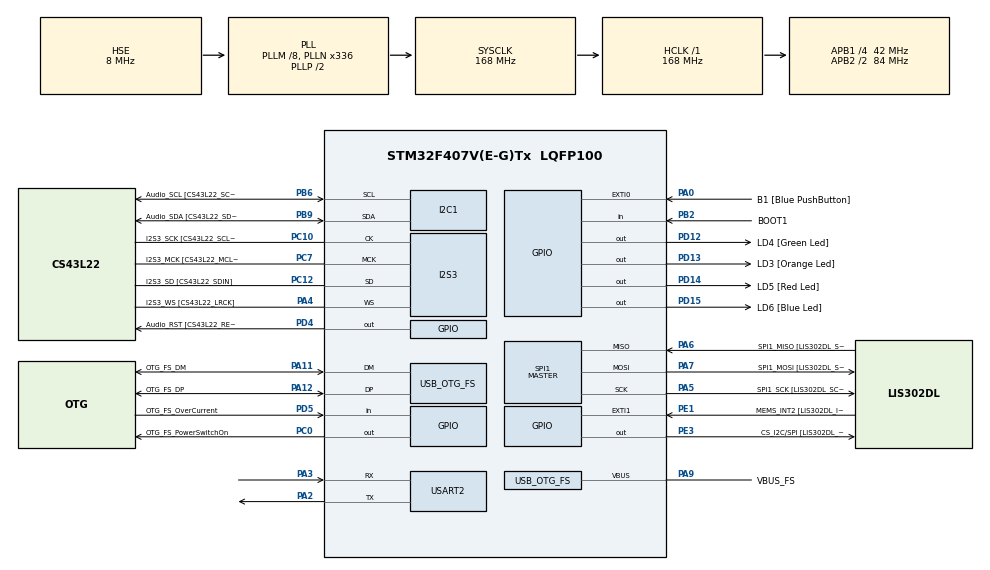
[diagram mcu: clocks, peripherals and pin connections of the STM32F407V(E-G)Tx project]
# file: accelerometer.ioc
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I2S3.AudioFreq-Half_Duplex_Master=I2S_AUDIOFREQ_96K
I2S3.ErrorAudioFreq=-2.34 %
I2S3.ErrorAudioFreq-Half_Duplex_Master=0.8 %
I2S3.FullDuplexMode=I2S_FULLDUPLEXMODE_DISABLE
I2S3.Instance=SPI$Index
I2S3.RealAudioFreq=93.75 KHz
I2S3.RealAudioFreq-Half_Duplex_Master=96.774 KHz
I2S3.VirtualMode=I2S_MODE_MASTER
Mcu.Family=STM32F4
Mcu.Name=STM32F407V(E-G)Tx
Mcu.Package=LQFP100
NVIC.OTG_FS_IRQn=true\:0\:0\:false\:false\:true\:true\:true
NVIC.PriorityGroup=NVIC_PRIORITYGROUP_0
PA0-WKUP.GPIO_Label=B1 [Blue PushButton]
PA0-WKUP.GPIO_ModeDefaultEXTI=GPIO_MODE_EVT_RISING
PA0-WKUP.GPIO_PuPd=GPIO_NOPULL
PA0-WKUP.Signal=GPXTI0
PA10.GPIO_Label=OTG_FS_ID
PA10.GPIO_Mode=GPIO_MODE_AF_PP
PA10.GPIO_PuPd=GPIO_NOPULL
PA10.GPIO_Speed=GPIO_SPEED_FREQ_LOW
PA10.Signal=USB_OTG_FS_ID
PA11.GPIO_Label=OTG_FS_DM
PA11.GPIO_Mode=GPIO_MODE_AF_PP
PA11.GPIO_PuPd=GPIO_NOPULL
PA11.GPIO_Speed=GPIO_SPEED_FREQ_LOW
PA11.Mode=Host_Only
PA11.Signal=USB_OTG_FS_DM
PA12.GPIO_Label=OTG_FS_DP
PA12.GPIO_Mode=GPIO_MODE_AF_PP
PA12.GPIO_PuPd=GPIO_NOPULL
PA12.GPIO_Speed=GPIO_SPEED_FREQ_LOW
PA12.Mode=Host_Only
PA12.Signal=USB_OTG_FS_DP
PA13.GPIO_Label=SWDIO
PA13.Mode=Serial_Wire
PA13.Signal=SYS_JTMS-SWDIO
PA14.GPIO_Label=SWCLK
PA14.Mode=Serial_Wire
PA14.Signal=SYS_JTCK-SWCLK
PA2.Mode=Asynchronous
PA2.Signal=USART2_TX
PA3.Mode=Asynchronous
PA3.Signal=USART2_RX
PA4.GPIO_Label=I2S3_WS [CS43L22_LRCK]
PA4.GPIO_Mode=GPIO_MODE_AF_PP
PA4.GPIO_PuPd=GPIO_NOPULL
PA4.GPIO_Speed=GPIO_SPEED_FREQ_LOW
PA4.Mode=Half_Duplex_Master
PA4.Signal=I2S3_WS
PA5.GPIO_Label=SPI1_SCK [LIS302DL_SCL/SPC]
PA5.GPIO_Mode=GPIO_MODE_AF_PP
PA5.GPIO_PuPd=GPIO_NOPULL
PA5.GPIO_Speed=GPIO_SPEED_FREQ_LOW
PA5.Mode=Full_Duplex_Master
PA5.Signal=SPI1_SCK
PA6.GPIO_Label=SPI1_MISO [LIS302DL_SDO]
PA6.GPIO_Mode=GPIO_MODE_AF_PP
PA6.GPIO_PuPd=GPIO_NOPULL
PA6.GPIO_Speed=GPIO_SPEED_FREQ_LOW
PA6.Mode=Full_Duplex_Master
PA6.Signal=SPI1_MISO
PA7.GPIO_Label=SPI1_MOSI [LIS302DL_SDA/SDI/SDO]
PA7.GPIO_Mode=GPIO_MODE_AF_PP
PA7.GPIO_PuPd=GPIO_NOPULL
PA7.GPIO_Speed=GPIO_SPEED_FREQ_LOW
PA7.Mode=Full_Duplex_Master
PA7.Signal=SPI1_MOSI
PA9.GPIO_Label=VBUS_FS
PA9.GPIO_Mode=GPIO_MODE_INPUT
PA9.GPIO_PuPd=GPIO_NOPULL
PA9.Mode=Activate_VBUS
PA9.Signal=USB_OTG_FS_VBUS
PB10.GPIO_Label=CLK_IN [MP45DT02_CLK]
PB10.GPIO_Mode=GPIO_MODE_AF_PP
PB10.GPIO_PuPd=GPIO_NOPULL
PB10.GPIO_Speed=GPIO_SPEED_FREQ_LOW
PB10.Signal=I2S2_CK
PB2.GPIO_Label=BOOT1
PB2.GPIO_Mode=GPIO_MODE_INPUT
PB2.GPIO_PuPd=GPIO_NOPULL
PB2.Signal=GPIO_Input
PB3.GPIO_Label=SWO
PB3.Signal=SYS_JTDO-SWO
PB6.GPIO_Label=Audio_SCL [CS43L22_SCL]
PB6.GPIO_Mode=GPIO_MODE_AF_OD
PB6.GPIO_PuPd=GPIO_NOPULL
PB6.GPIO_Speed=GPIO_SPEED_FREQ_LOW
PB6.Mode=I2C
PB6.Signal=I2C1_SCL
PB9.GPIO_Label=Audio_SDA [CS43L22_SDA]
PB9.GPIO_Mode=GPIO_MODE_AF_OD
PB9.GPIO_PuPd=GPIO_NOPULL
PB9.GPIO_Speed=GPIO_SPEED_FREQ_LOW
PB9.Mode=I2C
PB9.Signal=I2C1_SDA
PC0.GPIO_Label=OTG_FS_PowerSwitchOn
PC0.GPIO_PuPd=GPIO_NOPULL
PC0.GPIO_Speed=GPIO_SPEED_FREQ_LOW
PC0.PinState=GPIO_PIN_SET
PC0.Signal=GPIO_Output
PC10.GPIO_Label=I2S3_SCK [CS43L22_SCLK]
PC10.GPIO_Mode=GPIO_MODE_AF_PP
PC10.GPIO_PuPd=GPIO_NOPULL
PC10.GPIO_Speed=GPIO_SPEED_FREQ_LOW
PC10.Mode=Half_Duplex_Master
PC10.Signal=I2S3_CK
PC12.GPIO_Label=I2S3_SD [CS43L22_SDIN]
PC12.GPIO_Mode=GPIO_MODE_AF_PP
PC12.GPIO_PuPd=GPIO_NOPULL
PC12.GPIO_Speed=GPIO_SPEED_FREQ_LOW
PC12.Mode=Half_Duplex_Master
PC12.Signal=I2S3_SD
PC14-OSC32_IN.GPIO_Label=PC14-OSC32_IN
PC14-OSC32_IN.Mode=LSE-External-Oscillator
PC14-OSC32_IN.Signal=RCC_OSC32_IN
PC15-OSC32_OUT.GPIO_Label=PC15-OSC32_OUT
PC15-OSC32_OUT.Mode=LSE-External-Oscillator
PC15-OSC32_OUT.Signal=RCC_OSC32_OUT
PC3.GPIO_Label=PDM_OUT [MP45DT02_DOUT]
PC3.GPIO_Mode=GPIO_MODE_AF_PP
PC3.GPIO_PuPd=GPIO_NOPULL
PC3.GPIO_Speed=GPIO_SPEED_FREQ_LOW
PC3.Signal=I2S2_SD
PC7.GPIO_Label=I2S3_MCK [CS43L22_MCLK]
PC7.GPIO_Mode=GPIO_MODE_AF_PP
PC7.GPIO_PuPd=GPIO_NOPULL
PC7.GPIO_Speed=GPIO_SPEED_FREQ_LOW
PC7.Mode=Master_Clock_Activated
PC7.Signal=I2S3_MCK
PD12.GPIO_Label=LD4 [Green Led]
PD12.GPIO_PuPd=GPIO_NOPULL
PD12.GPIO_Speed=GPIO_SPEED_FREQ_LOW
PD12.Signal=GPIO_Output
PD13.GPIO_Label=LD3 [Orange Led]
PD13.GPIO_PuPd=GPIO_NOPULL
PD13.GPIO_Speed=GPIO_SPEED_FREQ_LOW
PD13.Signal=GPIO_Output
PD14.GPIO_Label=LD5 [Red Led]
PD14.GPIO_PuPd=GPIO_NOPULL
PD14.GPIO_Speed=GPIO_SPEED_FREQ_LOW
PD14.Signal=GPIO_Output
PD15.GPIO_Label=LD6 [Blue Led]
PD15.GPIO_PuPd=GPIO_NOPULL
PD15.GPIO_Speed=GPIO_SPEED_FREQ_LOW
PD15.Signal=GPIO_Output
PD4.GPIO_Label=Audio_RST [CS43L22_RESET]
PD4.GPIO_PuPd=GPIO_NOPULL
PD4.GPIO_Speed=GPIO_SPEED_FREQ_LOW
PD4.Signal=GPIO_Output
PD5.GPIO_Label=OTG_FS_OverCurrent
PD5.GPIO_Mode=GPIO_MODE_INPUT
PD5.GPIO_PuPd=GPIO_NOPULL
PD5.Signal=GPIO_Input
PE1.GPIO_Label=MEMS_INT2 [LIS302DL_INT2]
PE1.GPIO_ModeDefaultEXTI=GPIO_MODE_EVT_RISING
PE1.GPIO_PuPd=GPIO_NOPULL
PE1.Signal=GPXTI1
PE3.GPIO_Label=CS_I2C/SPI [LIS302DL_CS_I2C/SPI]
PE3.GPIO_PuPd=GPIO_NOPULL
PE3.GPIO_Speed=GPIO_SPEED_FREQ_LOW
PE3.Signal=GPIO_Output
PH0-OSC_IN.GPIO_Label=PH0-OSC_IN
PH0-OSC_IN.Mode=HSE-External-Oscillator
PH0-OSC_IN.Signal=RCC_OSC_IN
PH1-OSC_OUT.GPIO_Label=PH1-OSC_OUT
PH1-OSC_OUT.Mode=HSE-External-Oscillator
PH1-OSC_OUT.Signal=RCC_OSC_OUT
ProjectManager.HeapSize=0x200
ProjectManager.StackSize=0x400
ProjectManager.TargetToolchain=TrueSTUDIO
RCC.48MHZClocksFreq_Value=48000000
RCC.AHBFreq_Value=168000000
RCC.APB1CLKDivider=RCC_HCLK_DIV4
RCC.APB1Freq_Value=42000000
RCC.APB1TimFreq_Value=84000000
RCC.APB2CLKDivider=RCC_HCLK_DIV2
RCC.APB2Freq_Value=84000000
RCC.APB2TimFreq_Value=168000000
RCC.CortexFreq_Value=168000000
RCC.HCLKFreq_Value=168000000
RCC.HSE_VALUE=8000000
RCC.HSI_VALUE=16000000
RCC.PLLM=8
RCC.PLLN=336
RCC.PLLQ=7
RCC.SYSCLKFreq_VALUE=168000000
RCC.SYSCLKSource=RCC_SYSCLKSOURCE_PLLCLK
RCC.VCOOutputFreq_Value=336000000
SPI1.BaudRatePrescaler-Full_Duplex_Master=SPI_BAUDRATEPRESCALER_2
SPI1.CalculateBaudRate-Full_Duplex_Master=42.0 MBits/s
SPI1.Direction=SPI_DIRECTION_2LINES
SPI1.Mode=SPI_MODE_MASTER
SPI1.Mode-Full_Duplex_Master=SPI_MODE_MASTER
SPI1.VirtualType=VM_MASTER
USART2.VirtualMode=VM_ASYNC
USB_HOST.BSP.number=1
USB_HOST.USBH_HandleTypeDef-CDC_FS=hUsbHostFS
USB_HOST.VirtualModeFS=Cdc
USB_HOST0.BSP.STBoard=false
USB_HOST0.BSP.api=Unknown
USB_HOST0.BSP.i2caddr=0
USB_HOST0.BSP.i2creg=0
USB_HOST0.BSP.instance=PC0
USB_HOST0.BSP.ip=GPIO
USB_HOST0.BSP.mode=Output
USB_HOST0.BSP.name=Drive_VBUS_FS
USB_HOST0.BSP.solution=PC0
USB_OTG_FS.VirtualMode=Host_Only
USB_OTG_FS.phy_itface=HCD_PHY_EMBEDDED
VP_USB_HOST_VS_USB_HOST_CDC_FS.Mode=CDC_FS
board=STM32F407G-DISC1

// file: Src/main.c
/* USER CODE BEGIN Header */
/**
  ******************************************************************************
  * @file           : main.c
  * @brief          : Main program body
  ******************************************************************************
  * @attention
  *
  * <h2><center>&copy; Copyright (c) 2020 STMicroelectronics.
  * All rights reserved.</center></h2>
  *
  * This software component is licensed by ST under Ultimate Liberty license
  * SLA0044, the "License"; You may not use this file except in compliance with
  * the License. You may obtain a copy of the License at:
  *                             www.st.com/SLA0044
  *
  ******************************************************************************
  */
/* USER CODE END Header */

#include "main.h"
#include "usb_host.h"
#include "mems.h"

/* USER CODE BEGIN Includes */

/* Private function prototypes -----------------------------------------------*/
static void ACCELERO_ReadAcc(void);
void ACCELERO_MEMS_Handler(void);
/* USER CODE END Includes */

I2C_HandleTypeDef hi2c1;

I2S_HandleTypeDef hi2s3;

SPI_HandleTypeDef hspi1;

UART_HandleTypeDef huart2;

/* USER CODE BEGIN PV *
//* Init af threshold to detect acceleration on MEMS */
/* Typical value:
      - No  acceleration: X, Y inferior to 100 (positive or negative)
      - Max acceleration: X, Y around 2000 (positive or negative) */

int16_t ThresholdHigh = 200;
int16_t ThresholdLow = -200;

/* USER CODE END PV */

void SystemClock_Config(void);
static void MX_GPIO_Init(void);
static void MX_I2C1_Init(void);
static void MX_I2S3_Init(void);
static void MX_SPI1_Init(void);
static void MX_USART2_UART_Init(void);
void MX_USB_HOST_Process(void);

int main(void)
{

  /* MCU Configuration--------------------------------------------------------*/

  /* Reset of all peripherals, Initializes the Flash interface and the Systick. */
  HAL_Init();

  /* Configure the system clock */
  SystemClock_Config();

  /* Initialize all configured peripherals */
  MX_GPIO_Init();
  MX_I2C1_Init();
  MX_I2S3_Init();
  MX_SPI1_Init();
  MX_USB_HOST_Init();
  MX_USART2_UART_Init();

  /* Infinite loop */
  while (1)
  {
    MX_USB_HOST_Process();

    /* USER CODE BEGIN 3 */
    ACCELERO_MEMS_Handler();
    // HAL_GPIO_TogglePin(LD3_GPIO_Port, LD3_Pin);
    // HAL_UART_Transmit(&huart2, ">", 1, 1000);
  }
  /* USER CODE END 3 */
}

void SystemClock_Config(void)
{
  RCC_OscInitTypeDef RCC_OscInitStruct = {0};
  RCC_ClkInitTypeDef RCC_ClkInitStruct = {0};
  RCC_PeriphCLKInitTypeDef PeriphClkInitStruct = {0};

  /** Configure the main internal regulator output voltage
  */
  __HAL_RCC_PWR_CLK_ENABLE();
  __HAL_PWR_VOLTAGESCALING_CONFIG(PWR_REGULATOR_VOLTAGE_SCALE1);
  /** Initializes the CPU, AHB and APB busses clocks
  */
  RCC_OscInitStruct.OscillatorType = RCC_OSCILLATORTYPE_HSE;
  RCC_OscInitStruct.HSEState = RCC_HSE_ON;
  RCC_OscInitStruct.PLL.PLLState = RCC_PLL_ON;
  RCC_OscInitStruct.PLL.PLLSource = RCC_PLLSOURCE_HSE;
  RCC_OscInitStruct.PLL.PLLM = 8;
  RCC_OscInitStruct.PLL.PLLN = 336;
  RCC_OscInitStruct.PLL.PLLP = RCC_PLLP_DIV2;
  RCC_OscInitStruct.PLL.PLLQ = 7;
  if (HAL_RCC_OscConfig(&RCC_OscInitStruct) != HAL_OK)
  {
    Error_Handler();
  }
  /** Initializes the CPU, AHB and APB busses clocks
  */
  RCC_ClkInitStruct.ClockType = RCC_CLOCKTYPE_HCLK | RCC_CLOCKTYPE_SYSCLK | RCC_CLOCKTYPE_PCLK1 | RCC_CLOCKTYPE_PCLK2;
  RCC_ClkInitStruct.SYSCLKSource = RCC_SYSCLKSOURCE_PLLCLK;
  RCC_ClkInitStruct.AHBCLKDivider = RCC_SYSCLK_DIV1;
  RCC_ClkInitStruct.APB1CLKDivider = RCC_HCLK_DIV4;
  RCC_ClkInitStruct.APB2CLKDivider = RCC_HCLK_DIV2;

  if (HAL_RCC_ClockConfig(&RCC_ClkInitStruct, FLASH_LATENCY_5) != HAL_OK)
  {
    Error_Handler();
  }
  PeriphClkInitStruct.PeriphClockSelection = RCC_PERIPHCLK_I2S;
  PeriphClkInitStruct.PLLI2S.PLLI2SN = 192;
  PeriphClkInitStruct.PLLI2S.PLLI2SR = 2;
  if (HAL_RCCEx_PeriphCLKConfig(&PeriphClkInitStruct) != HAL_OK)
  {
    Error_Handler();
  }
}

static void MX_I2C1_Init(void)
{

  hi2c1.Instance = I2C1;
  hi2c1.Init.ClockSpeed = 100000;
  hi2c1.Init.DutyCycle = I2C_DUTYCYCLE_2;
  hi2c1.Init.OwnAddress1 = 0;
  hi2c1.Init.AddressingMode = I2C_ADDRESSINGMODE_7BIT;
  hi2c1.Init.DualAddressMode = I2C_DUALADDRESS_DISABLE;
  hi2c1.Init.OwnAddress2 = 0;
  hi2c1.Init.GeneralCallMode = I2C_GENERALCALL_DISABLE;
  hi2c1.Init.NoStretchMode = I2C_NOSTRETCH_DISABLE;
  if (HAL_I2C_Init(&hi2c1) != HAL_OK)
  {
    Error_Handler();
  }
}

static void MX_I2S3_Init(void)
{

  hi2s3.Instance = SPI3;
  hi2s3.Init.Mode = I2S_MODE_MASTER_TX;
  hi2s3.Init.Standard = I2S_STANDARD_PHILIPS;
  hi2s3.Init.DataFormat = I2S_DATAFORMAT_16B;
  hi2s3.Init.MCLKOutput = I2S_MCLKOUTPUT_ENABLE;
  hi2s3.Init.AudioFreq = I2S_AUDIOFREQ_96K;
  hi2s3.Init.CPOL = I2S_CPOL_LOW;
  hi2s3.Init.ClockSource = I2S_CLOCK_PLL;
  hi2s3.Init.FullDuplexMode = I2S_FULLDUPLEXMODE_DISABLE;
  if (HAL_I2S_Init(&hi2s3) != HAL_OK)
  {
    Error_Handler();
  }
}

static void MX_SPI1_Init(void)
{

  /* SPI1 parameter configuration*/
  hspi1.Instance = SPI1;
  hspi1.Init.Mode = SPI_MODE_MASTER;
  hspi1.Init.Direction = SPI_DIRECTION_2LINES;
  hspi1.Init.DataSize = SPI_DATASIZE_8BIT;
  hspi1.Init.CLKPolarity = SPI_POLARITY_LOW;
  hspi1.Init.CLKPhase = SPI_PHASE_1EDGE;
  hspi1.Init.NSS = SPI_NSS_SOFT;
  hspi1.Init.BaudRatePrescaler = SPI_BAUDRATEPRESCALER_2;
  hspi1.Init.FirstBit = SPI_FIRSTBIT_MSB;
  hspi1.Init.TIMode = SPI_TIMODE_DISABLE;
  hspi1.Init.CRCCalculation = SPI_CRCCALCULATION_DISABLE;
  hspi1.Init.CRCPolynomial = 10;
  if (HAL_SPI_Init(&hspi1) != HAL_OK)
  {
    Error_Handler();
  }
}

static void MX_USART2_UART_Init(void)
{

  huart2.Instance = USART2;
  huart2.Init.BaudRate = 115200;
  huart2.Init.WordLength = UART_WORDLENGTH_8B;
  huart2.Init.StopBits = UART_STOPBITS_1;
  huart2.Init.Parity = UART_PARITY_NONE;
  huart2.Init.Mode = UART_MODE_TX_RX;
  huart2.Init.HwFlowCtl = UART_HWCONTROL_NONE;
  huart2.Init.OverSampling = UART_OVERSAMPLING_16;
  if (HAL_UART_Init(&huart2) != HAL_OK)
  {
    Error_Handler();
  }
}

static void MX_GPIO_Init(void)
{
  GPIO_InitTypeDef GPIO_InitStruct = {0};

  /* GPIO Ports Clock Enable */
  __HAL_RCC_GPIOE_CLK_ENABLE();
  __HAL_RCC_GPIOC_CLK_ENABLE();
  __HAL_RCC_GPIOH_CLK_ENABLE();
  __HAL_RCC_GPIOA_CLK_ENABLE();
  __HAL_RCC_GPIOB_CLK_ENABLE();
  __HAL_RCC_GPIOD_CLK_ENABLE();

  /*Configure GPIO pin Output Level */
  HAL_GPIO_WritePin(CS_I2C_SPI_GPIO_Port, CS_I2C_SPI_Pin, GPIO_PIN_RESET);

  /*Configure GPIO pin Output Level */
  HAL_GPIO_WritePin(OTG_FS_PowerSwitchOn_GPIO_Port, OTG_FS_PowerSwitchOn_Pin, GPIO_PIN_SET);

  /*Configure GPIO pin Output Level */
  HAL_GPIO_WritePin(GPIOD, LD4_Pin | LD3_Pin | LD5_Pin | LD6_Pin | Audio_RST_Pin, GPIO_PIN_RESET);

  /*Configure GPIO pin : CS_I2C_SPI_Pin */
  GPIO_InitStruct.Pin = CS_I2C_SPI_Pin;
  GPIO_InitStruct.Mode = GPIO_MODE_OUTPUT_PP;
  GPIO_InitStruct.Pull = GPIO_NOPULL;
  GPIO_InitStruct.Speed = GPIO_SPEED_FREQ_LOW;
  HAL_GPIO_Init(CS_I2C_SPI_GPIO_Port, &GPIO_InitStruct);

  /*Configure GPIO pin : OTG_FS_PowerSwitchOn_Pin */
  GPIO_InitStruct.Pin = OTG_FS_PowerSwitchOn_Pin;
  GPIO_InitStruct.Mode = GPIO_MODE_OUTPUT_PP;
  GPIO_InitStruct.Pull = GPIO_NOPULL;
  GPIO_InitStruct.Speed = GPIO_SPEED_FREQ_LOW;
  HAL_GPIO_Init(OTG_FS_PowerSwitchOn_GPIO_Port, &GPIO_InitStruct);

  /*Configure GPIO pin : PDM_OUT_Pin */
  GPIO_InitStruct.Pin = PDM_OUT_Pin;
  GPIO_InitStruct.Mode = GPIO_MODE_AF_PP;
  GPIO_InitStruct.Pull = GPIO_NOPULL;
  GPIO_InitStruct.Speed = GPIO_SPEED_FREQ_LOW;
  GPIO_InitStruct.Alternate = GPIO_AF5_SPI2;
  HAL_GPIO_Init(PDM_OUT_GPIO_Port, &GPIO_InitStruct);

  /*Configure GPIO pin : B1_Pin */
  GPIO_InitStruct.Pin = B1_Pin;
  GPIO_InitStruct.Mode = GPIO_MODE_EVT_RISING;
  GPIO_InitStruct.Pull = GPIO_NOPULL;
  HAL_GPIO_Init(B1_GPIO_Port, &GPIO_InitStruct);

  /*Configure GPIO pin : BOOT1_Pin */
  GPIO_InitStruct.Pin = BOOT1_Pin;
  GPIO_InitStruct.Mode = GPIO_MODE_INPUT;
  GPIO_InitStruct.Pull = GPIO_NOPULL;
  HAL_GPIO_Init(BOOT1_GPIO_Port, &GPIO_InitStruct);

  /*Configure GPIO pin : CLK_IN_Pin */
  GPIO_InitStruct.Pin = CLK_IN_Pin;
  GPIO_InitStruct.Mode = GPIO_MODE_AF_PP;
  GPIO_InitStruct.Pull = GPIO_NOPULL;
  GPIO_InitStruct.Speed = GPIO_SPEED_FREQ_LOW;
  GPIO_InitStruct.Alternate = GPIO_AF5_SPI2;
  HAL_GPIO_Init(CLK_IN_GPIO_Port, &GPIO_InitStruct);

  /*Configure GPIO pins : LD4_Pin LD3_Pin LD5_Pin LD6_Pin
                           Audio_RST_Pin */
  GPIO_InitStruct.Pin = LD4_Pin | LD3_Pin | LD5_Pin | LD6_Pin | Audio_RST_Pin;
  GPIO_InitStruct.Mode = GPIO_MODE_OUTPUT_PP;
  GPIO_InitStruct.Pull = GPIO_NOPULL;
  GPIO_InitStruct.Speed = GPIO_SPEED_FREQ_LOW;
  HAL_GPIO_Init(GPIOD, &GPIO_InitStruct);

  /*Configure GPIO pin : OTG_FS_OverCurrent_Pin */
  GPIO_InitStruct.Pin = OTG_FS_OverCurrent_Pin;
  GPIO_InitStruct.Mode = GPIO_MODE_INPUT;
  GPIO_InitStruct.Pull = GPIO_NOPULL;
  HAL_GPIO_Init(OTG_FS_OverCurrent_GPIO_Port, &GPIO_InitStruct);

  /*Configure GPIO pin : MEMS_INT2_Pin */
  GPIO_InitStruct.Pin = MEMS_INT2_Pin;
  GPIO_InitStruct.Mode = GPIO_MODE_EVT_RISING;
  GPIO_InitStruct.Pull = GPIO_NOPULL;
  HAL_GPIO_Init(MEMS_INT2_GPIO_Port, &GPIO_InitStruct);
}

/* USER CODE BEGIN 4 */

/**
  * @brief  Test ACCELERATOR MEMS Hardware.
  *         The main objective of this test is to check acceleration on 2 axes X and Y
  * @param  None
  * @retval None
  */
void ACCELERO_MEMS_Handler(void)
{
  /* Init Accelerometer MEMS */
  if (BSP_ACCELERO_Init() != HAL_OK)
  {
    /* Initialization Error */
    Error_Handler();
  }

  while (1)
  {
    ACCELERO_ReadAcc();
  }
}

/**
  * @brief  Read Acceleration data.
  * @param  None
  * @retval None
  */
static void ACCELERO_ReadAcc(void)
{
  /* Accelerometer variables */
  int16_t buffer[3] = {0};
  int16_t xval, yval = 0x00;

  /* Read Acceleration */
  BSP_ACCELERO_GetXYZ(buffer);

  xval = buffer[0];
  yval = buffer[1];
  char str[12];

  int8_t processed_buffer[2] = {0};

  processed_buffer[0] = (int8_t)(xval / 20);
  processed_buffer[1] = (int8_t)(yval / 20);
//  sprintf(str, "%d", (int)(xval / 20));
  HAL_UART_Transmit(&huart2, processed_buffer, 2, 1000);
//  sprintf(str, "%d", (int)(yval / 20));
//  HAL_UART_Transmit(&huart2, (int)(yval / 20), 1, 1000);

  if ((ABS(xval)) > (ABS(yval)))
  {
    if (xval > ThresholdHigh)
    {
      /* LED5 On */
      HAL_GPIO_TogglePin(GPIOD, LD5_Pin);
      // BSP_LED_On(LED5);
//      HAL_UART_Transmit(&huart2, "L", 1, 1000);
      HAL_Delay(10);
    }
    else if (xval < ThresholdLow)
    {
      /* LED4 On */
      HAL_GPIO_TogglePin(GPIOD, LD4_Pin);
      // BSP_LED_On(LED4);
//      HAL_UART_Transmit(&huart2, "R", 1, 1000);
      HAL_Delay(10);
    }
    else
    {
      HAL_Delay(10);
    }
  }
  else
  {
    if (yval < ThresholdLow)
    {
      /* LED6 On */
      // BSP_LED_On(LED6);
      HAL_GPIO_TogglePin(GPIOD, LD6_Pin);
//      HAL_UART_Transmit(&huart2, "T", 1, 1000);
      HAL_Delay(10);
    }
    else if (yval > ThresholdHigh)
    {
      /* LED3 On */
      // BSP_LED_On(LED3);
      HAL_GPIO_TogglePin(GPIOD, LD3_Pin);
//      HAL_UART_Transmit(&huart2, "B", 1, 1000);
      HAL_Delay(10);
    }
    else
    {
      HAL_Delay(10);
    }
  }

  // BSP_LED_Off(LED3);
  // BSP_LED_Off(LED4);
  // BSP_LED_Off(LED5);
  // BSP_LED_Off(LED6);
}

/* USER CODE END 4 */

void Error_Handler(void)
{
}

/************************ (C) COPYRIGHT STMicroelectronics *****END OF FILE****/
